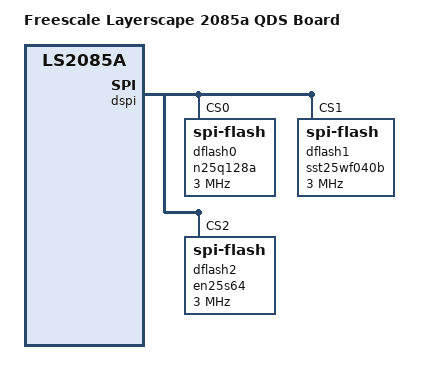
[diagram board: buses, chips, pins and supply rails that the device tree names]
/*
 * Freescale ls2085a QDS board device tree source
 *
 * Copyright 2013-2015 Freescale Semiconductor, Inc.
 *
 * SPDX-License-Identifier:	GPL-2.0+
 */

/dts-v1/;

#include "fsl-ls2085a.dtsi"

/ {
	model = "Freescale Layerscape 2085a QDS Board";
	compatible = "fsl,ls2085a-qds", "fsl,ls2085a";

	aliases {
		spi1 = &dspi;
	};
};

&dspi {
	bus-num = <0>;
	status = "okay";

	dflash0: n25q128a {
		#address-cells = <1>;
		#size-cells = <1>;
		compatible = "spi-flash";
		spi-max-frequency = <3000000>;
		spi-cpol;
		spi-cpha;
		reg = <0>;
	};
	dflash1: sst25wf040b {
		#address-cells = <1>;
		#size-cells = <1>;
		compatible = "spi-flash";
		spi-max-frequency = <3000000>;
		spi-cpol;
		spi-cpha;
		reg = <1>;
	};
	dflash2: en25s64 {
		#address-cells = <1>;
		#size-cells = <1>;
		compatible = "spi-flash";
		spi-max-frequency = <3000000>;
		spi-cpol;
		spi-cpha;
		reg = <2>;
	};
};
